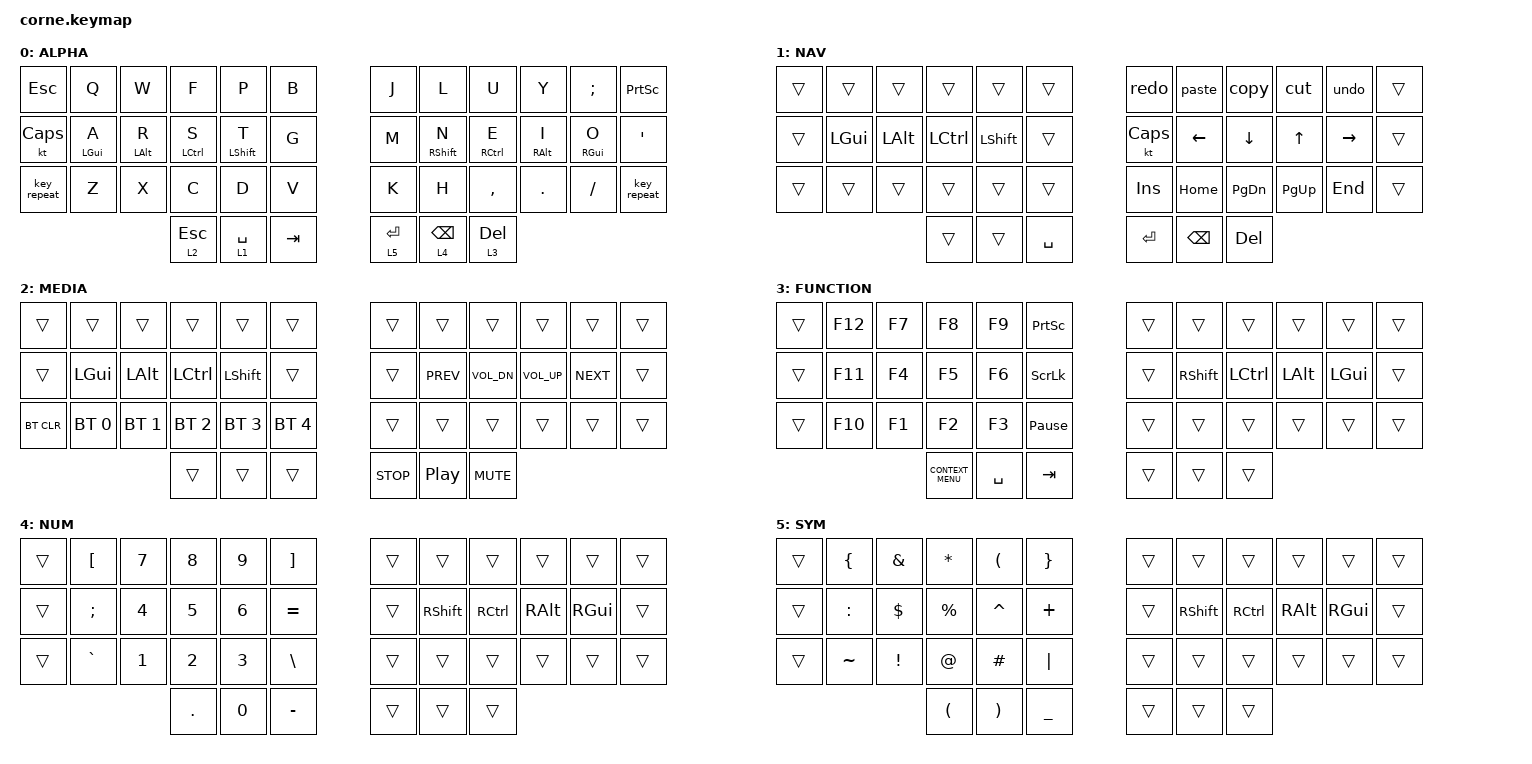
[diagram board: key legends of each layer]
/*
 * Copyright (c) 2020 The ZMK Contributors
 *
 * SPDX-License-Identifier: MIT
 */

#include <behaviors.dtsi>
#include <dt-bindings/zmk/bt.h>
#include <dt-bindings/zmk/keys.h>
#include <dt-bindings/zmk/keys.h>

/ {
    behaviors {
        hml: homerow_mods_left {
            compatible = "zmk,behavior-hold-tap";
            label = "HOMEROW_MODS_LEFT_HAND";
            bindings = <&kp>, <&kp>;

            #binding-cells = <2>;
            tapping-term-ms = <290>;
            quick-tap-ms = <155>;
            require-prior-idle-ms = <130>;
            flavor = "tap-preferred";
            hold-trigger-key-positions = <6 18 30 39 40 7 8 9 10 11 19 20 21 22 23 31 32 33 34 35 41>;
        };

        hmr: homerow_mods_right {
            compatible = "zmk,behavior-hold-tap";
            label = "HOMEROW_MODS_RIGHT_HAND";
            bindings = <&kp>, <&kp>;

            #binding-cells = <2>;
            tapping-term-ms = <290>;
            quick-tap-ms = <155>;
            require-prior-idle-ms = <130>;
            flavor = "tap-preferred";
            hold-trigger-key-positions = <0 1 5 12 13 14 15 16 17 24 25 26 27 28 29 36 37 38 2 3 4 5>;
        };
    };

    macros {
        copy: copy {
            compatible = "zmk,behavior-macro";
            #binding-cells = <0>;
            bindings = <&kp LC(C)>;
            label = "COPY";
        };

        paste: paste {
            compatible = "zmk,behavior-macro";
            #binding-cells = <0>;
            bindings = <&kp LC(V)>;
            label = "PASTE";
        };

        cut: cut {
            compatible = "zmk,behavior-macro";
            #binding-cells = <0>;
            bindings = <&kp LC(X)>;
            label = "CUT";
        };

        undo: undo {
            compatible = "zmk,behavior-macro";
            #binding-cells = <0>;
            bindings = <&kp LC(Z)>;
            label = "UNDO";
        };

        redo: redo {
            compatible = "zmk,behavior-macro";
            #binding-cells = <0>;
            bindings = <&kp LC(Y)>;
            label = "REDO";
        };
    };

    combos {
        compatible = "zmk,combos";

        capsword {
            bindings = <&caps_word>;
            key-positions = <28 31>;
        };
    };

    keymap {
        compatible = "zmk,keymap";

        alpha {
            // -----------------------------------------------------------------------------------------
            // |  TAB |  Q  |  W  |  E  |  R  |  T  |   |  Y  |  U   |  I  |  O  |  P  | BKSP |
            // | CTRL |  A  |  S  |  D  |  F  |  G  |   |  H  |  J   |  K  |  L  |  ;  |  '   |
            // | SHFT |  Z  |  X  |  C  |  V  |  B  |   |  N  |  M   |  ,  |  .  |  /  | ESC  |
            //                    | GUI | LWR | SPC |   | ENT | RSE  | ALT |

            display-name = "ALPHA";
            bindings = <
&kp ESCAPE    &kp Q            &kp W            &kp F                &kp P              &kp B      &kp J        &kp L               &kp U                 &kp Y             &kp SEMICOLON  &kp PRINTSCREEN
&kt CAPSLOCK  &hml LEFT_GUI A  &hml LEFT_ALT R  &hml LEFT_CONTROL S  &hml LEFT_SHIFT T  &kp G      &kp M        &hmr RIGHT_SHIFT N  &hmr RIGHT_CONTROL E  &hmr RIGHT_ALT I  &hmr RGUI O    &kp SQT
&key_repeat   &kp Z            &kp X            &kp C                &kp D              &kp V      &kp K        &kp H               &kp COMMA             &kp DOT           &kp FSLH       &key_repeat
                                                &lt 2 ESCAPE         &lt 1 SPACE        &kp TAB    &lt 5 ENTER  &lt 4 BACKSPACE     &lt 3 DEL
            >;
        };

        nav {
            // -----------------------------------------------------------------------------------------
            // |  TAB |  1  |  2  |  3  |  4  |  5  |   |  6  |  7  |  8  |  9  |  0  | BKSP |
            // | BTCLR| BT1 | BT2 | BT3 | BT4 | BT5 |   | LFT | DWN |  UP | RGT |     |      |
            // | SHFT |     |     |     |     |     |   |     |     |     |     |     |      |
            //                    | GUI |     | SPC |   | ENT |     | ALT |

            display-name = "NAV";
            bindings = <
&trans  &trans    &trans    &trans            &trans          &trans       &redo       &paste          &copy           &cut          &undo            &trans
&trans  &kp LGUI  &kp LALT  &kp LEFT_CONTROL  &kp LEFT_SHIFT  &trans       &kt CAPS    &kp LEFT_ARROW  &kp DOWN_ARROW  &kp UP_ARROW  &kp RIGHT_ARROW  &trans
&trans  &trans    &trans    &trans            &trans          &trans       &kp INSERT  &kp HOME        &kp PAGE_DOWN   &kp PAGE_UP   &kp END          &trans
                            &trans            &trans          &kp SPACE    &kp RET     &kp BACKSPACE   &kp DEL
            >;
        };

        media {
            bindings = <
&trans      &trans        &trans        &trans            &trans          &trans          &trans      &trans      &trans        &trans           &trans      &trans
&trans      &kp LGUI      &kp LALT      &kp LEFT_CONTROL  &kp LEFT_SHIFT  &trans          &trans      &kp C_PREV  &kp C_VOL_DN  &kp C_VOLUME_UP  &kp C_NEXT  &trans
&bt BT_CLR  &bt BT_SEL 0  &bt BT_SEL 1  &bt BT_SEL 2      &bt BT_SEL 3    &bt BT_SEL 4    &trans      &trans      &trans        &trans           &trans      &trans
                                        &trans            &trans          &trans          &kp C_STOP  &kp C_PP    &kp C_MUTE
            >;

            label = "MEDIA";
        };

        fun {
            bindings = <
&trans  &kp F12  &kp F7  &kp F8              &kp F9     &kp PRINTSCREEN    &trans  &trans           &trans            &trans        &trans        &trans
&trans  &kp F11  &kp F4  &kp F5              &kp F6     &kp SCROLLLOCK     &trans  &kp RIGHT_SHIFT  &kp LEFT_CONTROL  &kp LEFT_ALT  &kp LEFT_GUI  &trans
&trans  &kp F10  &kp F1  &kp F2              &kp F3     &kp PAUSE_BREAK    &trans  &trans           &trans            &trans        &trans        &trans
                         &kp K_CONTEXT_MENU  &kp SPACE  &kp TAB            &trans  &trans           &trans
            >;

            label = "FUNCTION";
        };

        num {
            bindings = <
&trans  &kp LBKT   &kp N7  &kp N8   &kp N9  &kp RBKT     &trans  &trans           &trans             &trans         &trans    &trans
&trans  &kp SEMI   &kp N4  &kp N5   &kp N6  &kp EQUAL    &trans  &kp RIGHT_SHIFT  &kp RIGHT_CONTROL  &kp RIGHT_ALT  &kp RGUI  &trans
&trans  &kp GRAVE  &kp N1  &kp N2   &kp N3  &kp BSLH     &trans  &trans           &trans             &trans         &trans    &trans
                           &kp DOT  &kp N0  &kp MINUS    &trans  &trans           &trans
            >;

            label = "NUM";
        };

        Sym {
            bindings = <
&trans  &kp LEFT_BRACE  &kp AMPERSAND    &kp ASTERISK          &kp LEFT_PARENTHESIS   &kp RIGHT_BRACE    &trans  &trans      &trans     &trans         &trans    &trans
&trans  &kp COLON       &kp DOLLAR       &kp PERCENT           &kp CARET              &kp PLUS           &trans  &kp RSHIFT  &kp RCTRL  &kp RIGHT_ALT  &kp RGUI  &trans
&trans  &kp TILDE       &kp EXCLAMATION  &kp AT_SIGN           &kp HASH               &kp PIPE           &trans  &trans      &trans     &trans         &trans    &trans
                                         &kp LEFT_PARENTHESIS  &kp RIGHT_PARENTHESIS  &kp UNDERSCORE     &trans  &trans      &trans
            >;

            label = "SYM";
        };
    };
};
